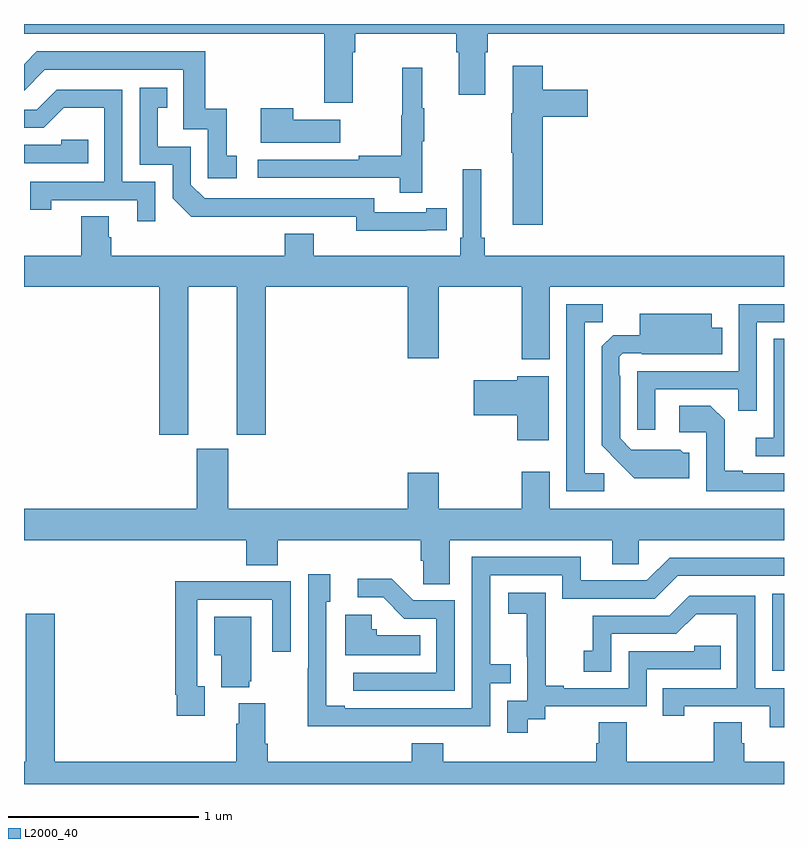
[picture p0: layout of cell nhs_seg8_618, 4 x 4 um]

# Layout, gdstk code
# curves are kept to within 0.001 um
import gdstk
lib = gdstk.Library(unit=1e-6, precision=1e-09)
def R(c, l, rs):  # rectangles x0, y0, x1, y1
    for r in rs: c.add(gdstk.rectangle(r[:2], r[2:], *l))
def P(c, l, *ps):  # polygons
    for p in ps: c.add(gdstk.Polygon(p, *l))
L2000_40 = (2000, 40)

nhs_seg8_618 = lib.new_cell('nhs_seg8_618')
R(nhs_seg8_618, L2000_40, [(154.938,1098.495,155,1098.901)])
P(nhs_seg8_618, L2000_40, [(152.731,1101.752),(152.744,1101.752),(152.744,1101.848),(153.275,1101.848),(153.275,1101.752),(153.287,1101.752),(153.287,1101.528),(153.427,1101.528),(153.427,1101.752),(153.44,1101.752),(153.44,1101.848),(155,1101.848),(155,1101.9),(151,1101.9),(151,1101.848),(152.579,1101.848),(152.579,1101.486),(152.731,1101.486)],
  [(152.119,1101.207),(152.066,1101.207),(152.066,1101.454),(151.955,1101.454),(151.955,1101.756),(151.068,1101.756),(151,1101.688),(151,1101.55),(151.11,1101.66),(151.839,1101.66),(151.839,1101.345),(151.968,1101.345),(151.968,1101.087),(152.119,1101.087)],
  [(153.731,1101.413),(153.967,1101.413),(153.967,1101.555),(153.731,1101.555),(153.731,1101.679),(153.572,1101.679),(153.572,1101.429),(153.565,1101.429),(153.565,1101.223),(153.572,1101.223),(153.572,1100.844),(153.731,1100.844)],
  [(153.095,1101.283),(153.106,1101.283),(153.106,1101.457),(153.095,1101.457),(153.095,1101.67),(152.992,1101.67),(152.992,1101.42),(152.985,1101.42),(152.985,1101.206),(152.761,1101.206),(152.761,1101.186),(152.229,1101.186),(152.229,1101.09),(152.977,1101.09),(152.977,1101.012),(153.095,1101.012)],
  [(153.116,1100.814),(153.224,1100.814),(153.224,1100.93),(153.116,1100.93),(153.116,1100.91),(152.844,1100.91),(152.844,1100.982),(151.95,1100.982),(151.878,1101.054),(151.878,1101.255),(151.705,1101.255),(151.705,1101.459),(151.754,1101.459),(151.754,1101.565),(151.608,1101.565),(151.608,1101.159),(151.782,1101.159),(151.782,1100.982),(151.88,1100.885),(152.748,1100.886),(152.748,1100.813)],
  [(151.692,1101.069),(151.518,1101.069),(151.518,1101.555),(151.172,1101.555),(151.067,1101.45),(151,1101.45),(151,1101.354),(151.104,1101.354),(151.208,1101.458),(151.422,1101.458),(151.422,1101.069),(151.033,1101.069),(151.033,1100.922),(151.144,1100.922),(151.144,1100.973),(151.595,1100.973),(151.595,1100.862),(151.692,1100.862)],
  [(152.665,1101.397),(152.417,1101.397),(152.417,1101.457),(152.246,1101.457),(152.246,1101.275),(152.665,1101.275)],
  [(151.337,1101.291),(151.197,1101.291),(151.197,1101.264),(151,1101.264),(151,1101.168),(151.337,1101.168)],
  [(151.864,1100.516),(152.12,1100.516),(152.12,1099.737),(152.273,1099.737),(152.273,1100.516),(153.02,1100.516),(153.02,1100.142),(153.184,1100.142),(153.184,1100.516),(153.619,1100.516),(153.619,1100.136),(153.766,1100.136),(153.766,1100.516),(155,1100.516),(155,1100.68),(153.425,1100.68),(153.425,1100.776),(153.406,1100.776),(153.406,1101.136),(153.309,1101.136),(153.309,1100.776),(153.296,1100.776),(153.296,1100.68),(152.524,1100.68),(152.524,1100.797),(152.372,1100.797),(152.372,1100.68),(151.46,1100.68),(151.46,1100.778),(151.447,1100.778),(151.447,1100.888),(151.3,1100.888),(151.3,1100.68),(151,1100.68),(151,1100.516),(151.712,1100.516),(151.712,1099.737),(151.864,1099.737)],
  [(154.054,1099.536),(153.951,1099.536),(153.951,1100.329),(154.047,1100.329),(154.047,1100.424),(153.855,1100.424),(153.855,1099.44),(154.054,1099.44)],
  [(154.323,1099.977),(154.759,1099.977),(154.759,1099.864),(154.857,1099.864),(154.857,1100.331),(155,1100.331),(155,1100.424),(154.761,1100.424),(154.761,1100.073),(154.227,1100.073),(154.227,1099.764),(154.323,1099.764)],
  [(154.501,1099.644),(154.47,1099.644),(154.454,1099.66),(154.197,1099.659),(154.137,1099.719),(154.137,1100.048),(154.134,1100.048),(154.134,1100.148),(154.152,1100.166),(154.252,1100.166),(154.252,1100.162),(154.676,1100.162),(154.676,1100.302),(154.621,1100.302),(154.621,1100.374),(154.241,1100.374),(154.241,1100.263),(154.1,1100.263),(154.041,1100.204),(154.041,1099.682),(154.213,1099.508),(154.501,1099.508)],
  [(155,1100.243),(154.947,1100.243),(154.947,1099.723),(154.851,1099.723),(154.851,1099.626),(155,1099.626)],
  [(153.763,1100.047),(153.596,1100.047),(153.596,1100.024),(153.366,1100.024),(153.366,1099.841),(153.596,1099.841),(153.596,1099.71),(153.763,1099.71)],
  [(155,1099.536),(154.783,1099.536),(154.783,1099.549),(154.689,1099.549),(154.689,1099.816),(154.613,1099.892),(154.449,1099.892),(154.449,1099.752),(154.59,1099.752),(154.59,1099.44),(155,1099.44)],
  [(153.241,1099.184),(154.097,1099.184),(154.097,1099.057),(154.236,1099.057),(154.236,1099.184),(155,1099.184),(155,1099.348),(153.766,1099.348),(153.766,1099.543),(153.619,1099.543),(153.619,1099.348),(153.184,1099.348),(153.184,1099.537),(153.02,1099.537),(153.02,1099.348),(152.074,1099.348),(152.074,1099.665),(151.91,1099.665),(151.91,1099.348),(151,1099.348),(151,1099.184),(152.171,1099.184),(152.171,1099.051),(152.336,1099.051),(152.336,1099.184),(153.089,1099.184),(153.089,1099.075),(153.102,1099.075),(153.102,1098.952),(153.241,1098.952)],
  [(152.957,1098.204),(153.453,1098.204),(153.453,1098.429),(153.563,1098.429),(153.563,1098.53),(153.453,1098.53),(153.453,1098.999),(153.834,1098.999),(153.834,1098.876),(154.32,1098.876),(154.44,1098.996),(155,1098.996),(155,1099.092),(154.398,1099.092),(154.278,1098.972),(153.931,1098.972),(153.931,1099.095),(153.357,1099.095),(153.357,1098.3),(152.689,1098.3),(152.689,1098.313),(152.592,1098.313),(152.592,1098.858),(152.611,1098.858),(152.611,1099.003),(152.496,1099.003),(152.496,1098.509),(152.494,1098.509),(152.494,1098.203)],
  [(153.267,1098.867),(153.048,1098.867),(152.935,1098.98),(152.757,1098.98),(152.757,1098.882),(152.891,1098.882),(153.002,1098.771),(153.171,1098.771),(153.171,1098.486),(152.733,1098.486),(152.733,1098.39),(153.267,1098.39)],
  [(151.951,1098.414),(151.911,1098.414),(151.911,1098.87),(152.307,1098.87),(152.307,1098.597),(152.403,1098.597),(152.403,1098.966),(152.087,1098.966),(152.087,1098.968),(151.795,1098.968),(151.795,1098.37),(151.803,1098.37),(151.803,1098.258),(151.951,1098.258)],
  [(153.652,1098.241),(153.744,1098.241),(153.744,1098.309),(154.278,1098.309),(154.278,1098.504),(154.667,1098.504),(154.667,1098.627),(154.527,1098.627),(154.527,1098.6),(154.182,1098.6),(154.182,1098.405),(153.841,1098.405),(153.841,1098.418),(153.746,1098.418),(153.746,1098.701),(153.747,1098.701),(153.747,1098.907),(153.549,1098.907),(153.549,1098.797),(153.647,1098.797),(153.647,1098.569),(153.648,1098.569),(153.648,1098.339),(153.543,1098.339),(153.543,1098.171),(153.652,1098.171)],
  [(155,1098.405),(154.848,1098.405),(154.848,1098.891),(154.502,1098.891),(154.397,1098.786),(153.994,1098.786),(153.994,1098.601),(153.945,1098.601),(153.945,1098.492),(154.092,1098.492),(154.092,1098.69),(154.434,1098.69),(154.538,1098.794),(154.752,1098.794),(154.752,1098.405),(154.363,1098.405),(154.363,1098.258),(154.474,1098.258),(154.474,1098.309),(154.925,1098.309),(154.925,1098.198),(155,1098.198)],
  [(151.01,1098.795),(151.01,1098.016),(151,1098.016),(151,1097.9),(155,1097.9),(155,1098.016),(154.79,1098.016),(154.79,1098.114),(154.777,1098.114),(154.777,1098.224),(154.63,1098.224),(154.63,1098.016),(154.173,1098.016),(154.173,1098.224),(154.025,1098.224),(154.025,1098.114),(154.013,1098.114),(154.013,1098.016),(153.206,1098.016),(153.206,1098.115),(153.041,1098.115),(153.041,1098.016),(152.282,1098.016),(152.282,1098.112),(152.269,1098.112),(152.269,1098.325),(152.129,1098.325),(152.129,1098.218),(152.117,1098.218),(152.117,1098.016),(151.163,1098.016),(151.163,1098.795)],
  [(153.086,1098.682),(152.856,1098.682),(152.856,1098.714),(152.829,1098.714),(152.829,1098.79),(152.69,1098.79),(152.69,1098.578),(153.086,1098.578)],
  [(152.186,1098.441),(152.197,1098.441),(152.197,1098.781),(152,1098.781),(152,1098.578),(152.039,1098.578),(152.039,1098.41),(152.186,1098.41)])

lib.write_gds('nhs_seg8_618.gds')
